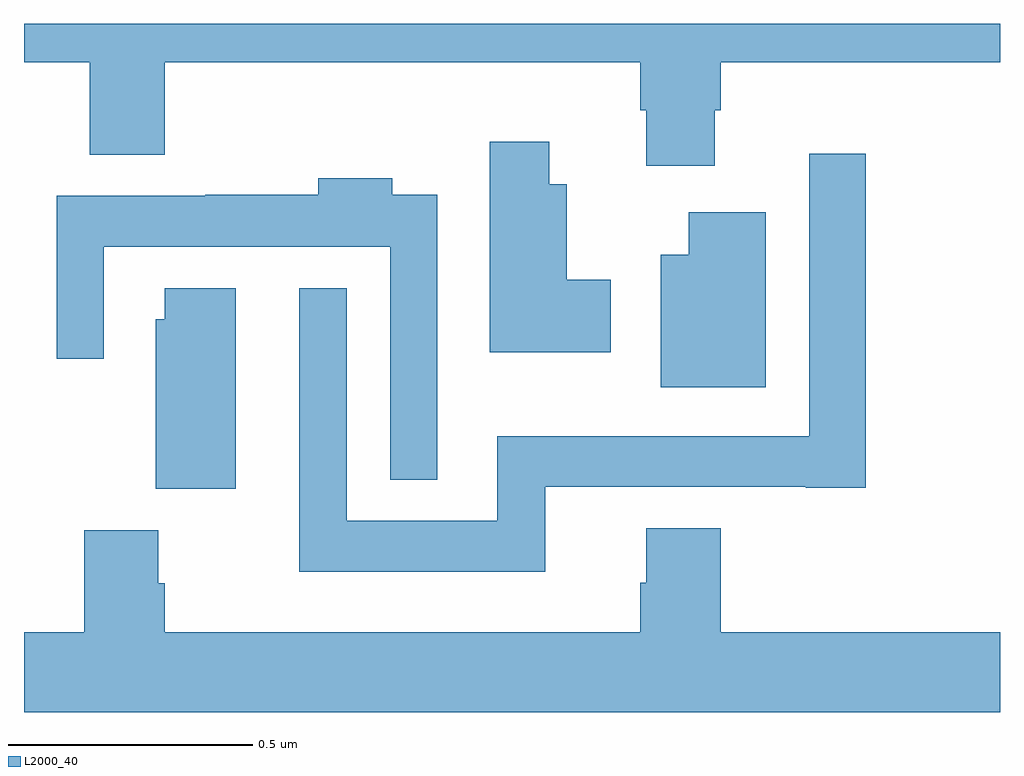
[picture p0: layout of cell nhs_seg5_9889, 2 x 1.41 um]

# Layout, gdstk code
import gdstk
lib = gdstk.Library(unit=1e-6, precision=1e-09)
def P(c, l, *ps):  # polygons
    for p in ps: c.add(gdstk.Polygon(p, *l))
L2000_40 = (2000, 40)

nhs_seg5_9889 = lib.new_cell('nhs_seg5_9889')
P(nhs_seg5_9889, L2000_40, [(240.415,896.622),(240.428,896.622),(240.428,896.72),(241,896.72),(241,896.799),(239,896.799),(239,896.72),(239.135,896.72),(239.135,896.531),(239.288,896.531),(239.288,896.72),(240.263,896.72),(240.263,896.622),(240.275,896.622),(240.275,896.508),(240.415,896.508)],
  [(240.202,896.274),(240.112,896.274),(240.112,896.47),(240.076,896.47),(240.076,896.557),(239.954,896.557),(239.954,896.126),(240.202,896.126)],
  [(240.068,895.85),(240.602,895.85),(240.602,895.848),(240.725,895.848),(240.725,896.533),(240.609,896.533),(240.609,895.954),(239.97,895.954),(239.97,895.78),(239.661,895.78),(239.661,896.257),(239.564,896.257),(239.564,895.676),(240.068,895.676)],
  [(239.847,896.449),(239.755,896.449),(239.755,896.482),(239.603,896.482),(239.603,896.449),(239.371,896.449),(239.371,896.446),(239.067,896.446),(239.067,896.112),(239.163,896.112),(239.163,896.342),(239.751,896.342),(239.751,895.865),(239.847,895.865)],
  [(240.52,896.413),(240.362,896.413),(240.362,896.326),(240.305,896.326),(240.305,896.054),(240.52,896.054)],
  [(239.434,896.257),(239.288,896.257),(239.288,896.193),(239.27,896.193),(239.27,895.846),(239.434,895.846)],
  [(241,895.552),(240.428,895.552),(240.428,895.765),(240.275,895.765),(240.275,895.653),(240.263,895.653),(240.263,895.552),(239.288,895.552),(239.288,895.652),(239.275,895.652),(239.275,895.761),(239.123,895.761),(239.123,895.552),(239,895.552),(239,895.388),(241,895.388)])

lib.write_gds('nhs_seg5_9889.gds')
